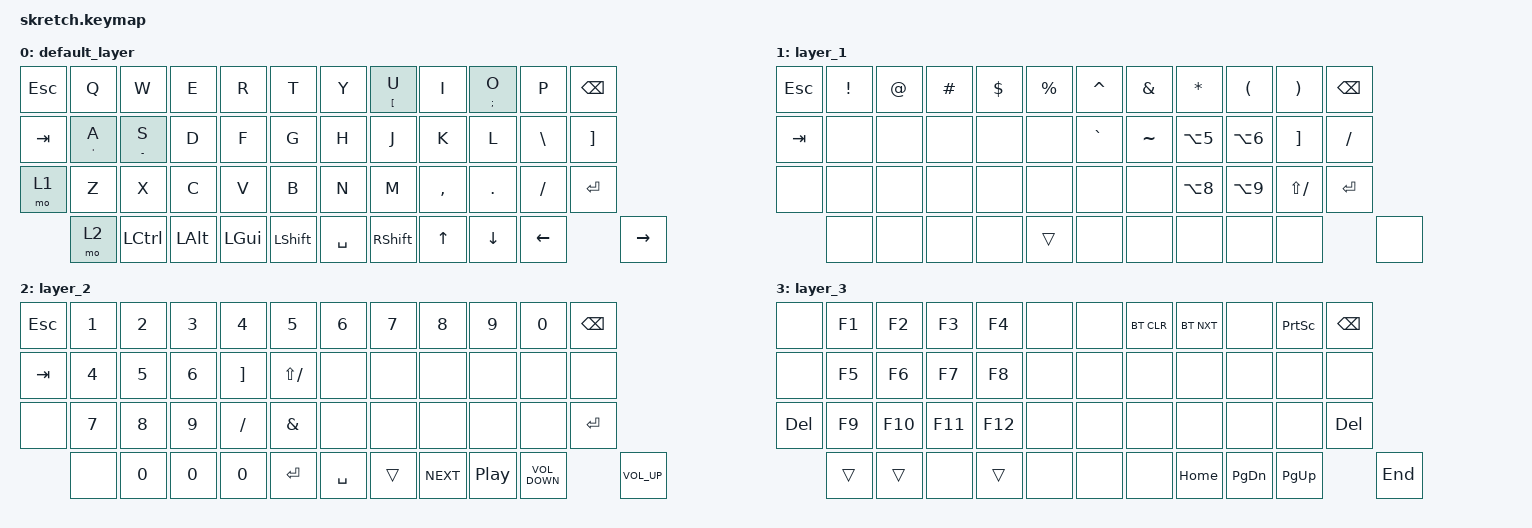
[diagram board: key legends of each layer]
#include <behaviors.dtsi>
#include <dt-bindings/zmk/bt.h>
#include <dt-bindings/zmk/keys.h>

/ {
    combos {
        compatible = "zmk,combos";
    };

    macros {
    };

    keymap {
        compatible = "zmk,keymap";

        default_layer {
            bindings = <
&kp ESC      &kp Q        &kp W     &kp E         &kp R       &kp T      &kp Y  &mt LBKT U         &kp I  &mt SEMI O          &kp P           &kp BSPC
&kp TAB  &mt SQT A  &mt MINUS S     &kp D         &kp F       &kp G      &kp H       &kp J         &kp K       &kp L  &kp BACKSLASH  &kp RIGHT_BRACKET
  &mo 1      &kp Z        &kp X     &kp C         &kp V       &kp B      &kp N       &kp M     &kp COMMA     &kp DOT      &kp SLASH            &kp RET
             &mo 2    &kp LCTRL  &kp LALT  &kp LEFT_GUI  &kp LSHIFT  &kp SPACE  &kp RSHIFT  &kp UP_ARROW    &kp DOWN       &kp LEFT          &kp RIGHT
            >;
        };

        layer_1 {
            bindings = <
&kp ESCAPE  &kp EXCL  &kp AT  &kp HASH  &kp DLLR  &kp PRCNT  &kp CARET   &kp AMPS          &kp STAR          &kp LPAR           &kp RPAR  &kp BACKSPACE
   &kp TAB     &none   &none     &none     &none      &none  &kp GRAVE  &kp TILDE  &kp LA(NUMBER_5)  &kp LA(NUMBER_6)  &kp RIGHT_BRACKET      &kp SLASH
     &none     &none   &none     &none     &none      &none      &none      &none  &kp LA(NUMBER_8)  &kp LA(NUMBER_9)      &kp LS(SLASH)     &kp RETURN
               &none   &none     &none     &none     &trans      &none      &none             &none             &none              &none          &none
            >;
        };

        layer_2 {
            bindings = <
&kp ESCAPE  &kp N1  &kp N2        &kp N3             &kp N4         &kp N5     &kp N6  &kp N7      &kp N8    &kp N9             &kp N0    &kp BACKSPACE
   &kp TAB  &kp N4  &kp N5        &kp N6  &kp RIGHT_BRACKET  &kp LS(SLASH)      &none   &none       &none     &none              &none            &none
     &none  &kp N7  &kp N8        &kp N9          &kp SLASH       &kp AMPS      &none   &none       &none     &none              &none        &kp ENTER
             &none  &kp N0  &kp NUMBER_0       &kp NUMBER_0     &kp RETURN  &kp SPACE  &trans  &kp C_NEXT  &kp C_PP  &kp C_VOLUME_DOWN  &kp C_VOLUME_UP
            >;
        };

        layer_3 {
            bindings = <
  &none  &kp F1   &kp F2   &kp F3   &kp F4  &none  &none  &bt BT_CLR  &bt BT_NXT      &none  &kp PSCRN  &kp BACKSPACE
  &none  &kp F5   &kp F6   &kp F7   &kp F8  &none  &none       &none       &none      &none      &none          &none
&kp DEL  &kp F9  &kp F10  &kp F11  &kp F12  &none  &none       &none       &none      &none      &none        &kp DEL
         &trans   &trans    &none   &trans  &none  &none       &none    &kp HOME  &kp PG_DN  &kp PG_UP        &kp END
            >;
        };
    };
};
